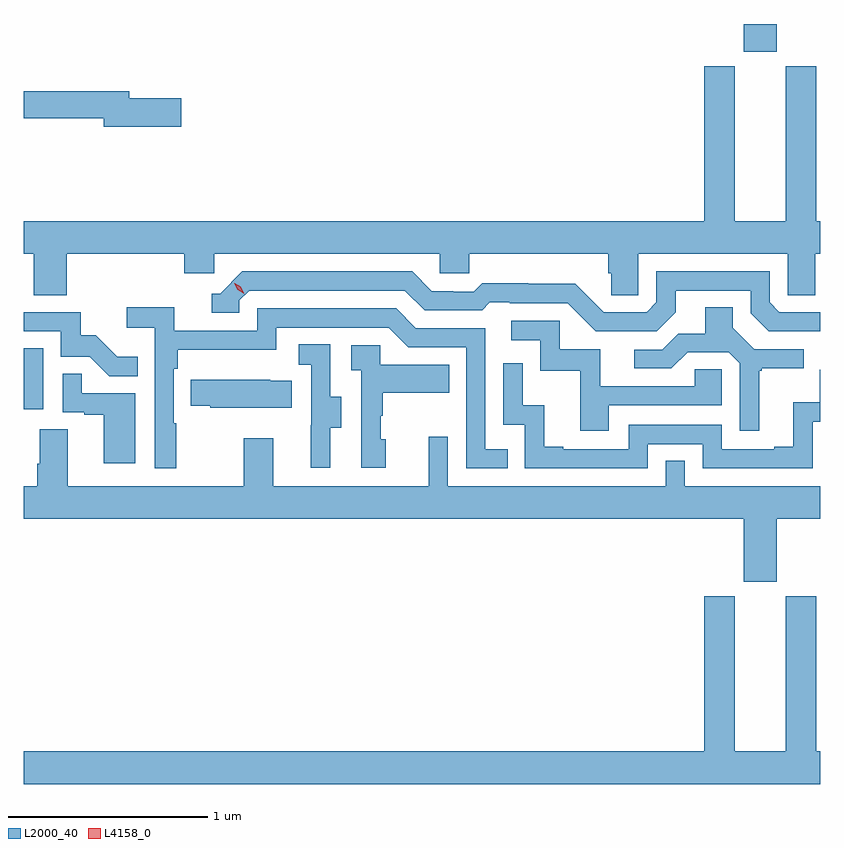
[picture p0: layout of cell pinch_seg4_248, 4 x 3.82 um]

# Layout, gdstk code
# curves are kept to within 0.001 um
import gdstk
lib = gdstk.Library(unit=1e-6, precision=1e-09)
def R(c, l, rs):  # rectangles x0, y0, x1, y1
    for r in rs: c.add(gdstk.rectangle(r[:2], r[2:], *l))
def P(c, l, *ps):  # polygons
    for p in ps: c.add(gdstk.Polygon(p, *l))
L2000_40 = (2000, 40)
L4158_0 = (4158, 0)

pinch_seg4_248 = lib.new_cell('pinch_seg4_248')
R(pinch_seg4_248, L2000_40, [(951.489,817.35,951.586,817.657), (955.106,819.147,955.27,819.286)])
P(pinch_seg4_248, L2000_40, [(951.704,818.132),(952.295,818.132),(952.295,818.034),(952.446,818.034),(952.446,818.132),(953.577,818.132),(953.577,818.034),(953.727,818.034),(953.727,818.132),(954.425,818.132),(954.425,818.034),(954.439,818.034),(954.439,817.924),(954.576,817.924),(954.576,818.132),(955.326,818.132),(955.326,817.924),(955.465,817.924),(955.465,818.132),(955.489,818.132),(955.489,818.296),(955.469,818.296),(955.469,819.075),(955.316,819.075),(955.316,818.296),(955.06,818.296),(955.06,819.075),(954.908,819.075),(954.908,818.296),(951.489,818.296),(951.489,818.132),(951.539,818.132),(951.539,817.924),(951.704,817.924)],
  [(952.279,818.912),(952.018,818.912),(952.018,818.948),(951.489,818.948),(951.489,818.812),(951.89,818.812),(951.89,818.77),(952.279,818.77)],
  [(955.489,817.839),(955.284,817.839),(955.236,817.887),(955.236,818.043),(954.666,818.043),(954.666,817.887),(954.618,817.839),(954.402,817.839),(954.26,817.981),(954.024,817.981),(954.024,817.984),(953.791,817.984),(953.749,817.941),(953.646,817.941),(953.646,817.944),(953.539,817.944),(953.44,818.043),(952.587,818.043),(952.476,817.932),(952.433,817.932),(952.433,817.836),(952.572,817.836),(952.572,817.899),(952.62,817.947),(953.403,817.947),(953.502,817.848),(953.791,817.848),(953.83,817.887),(953.929,817.887),(953.929,817.884),(954.222,817.884),(954.363,817.743),(954.669,817.743),(954.763,817.837),(954.763,817.947),(955.14,817.947),(955.14,817.833),(955.23,817.743),(955.489,817.742)],
  [(952.255,817.28),(952.242,817.28),(952.242,817.553),(952.262,817.553),(952.262,817.649),(952.758,817.649),(952.758,817.761),(953.322,817.761),(953.421,817.662),(953.712,817.662),(953.712,817.053),(953.921,817.053),(953.921,817.149),(953.808,817.149),(953.808,817.758),(953.458,817.758),(953.359,817.857),(952.662,817.857),(952.662,817.746),(952.244,817.746),(952.244,817.862),(952.005,817.862),(952.005,817.76),(952.146,817.76),(952.146,817.053),(952.255,817.053)],
  [(955.183,817.545),(955.195,817.545),(955.195,817.556),(955.408,817.556),(955.408,817.653),(955.158,817.653),(955.051,817.76),(955.051,817.862),(954.911,817.862),(954.911,817.73),(954.776,817.73),(954.696,817.65),(954.555,817.65),(954.555,817.557),(954.742,817.557),(954.823,817.638),(955.029,817.638),(955.086,817.581),(955.086,817.242),(955.183,817.242)],
  [(952.061,817.615),(951.957,817.615),(951.85,817.722),(951.774,817.722),(951.774,817.839),(951.489,817.839),(951.489,817.743),(951.675,817.743),(951.675,817.614),(951.819,817.614),(951.917,817.516),(952.061,817.516)],
  [(954.427,817.371),(954.996,817.371),(954.996,817.551),(954.859,817.551),(954.859,817.467),(954.385,817.467),(954.385,817.653),(954.18,817.653),(954.18,817.794),(953.937,817.794),(953.937,817.698),(954.084,817.698),(954.084,817.545),(954.283,817.545),(954.283,817.242),(954.427,817.242)],
  [(953.029,817.258),(953.083,817.258),(953.083,817.413),(953.028,817.413),(953.028,817.676),(952.869,817.676),(952.869,817.573),(952.932,817.573),(952.932,817.269),(952.931,817.269),(952.931,817.056),(953.029,817.056)],
  [(953.308,817.2),(953.283,817.2),(953.283,817.319),(953.293,817.319),(953.293,817.433),(953.627,817.433),(953.627,817.573),(953.28,817.573),(953.28,817.671),(953.133,817.671),(953.133,817.547),(953.184,817.547),(953.184,817.056),(953.308,817.056)],
  [(954.624,817.176),(954.9,817.176),(954.9,817.053),(955.452,817.053),(955.452,817.289),(955.489,817.289),(955.489,817.548),(955.488,817.548),(955.488,817.387),(955.355,817.387),(955.355,817.162),(955.259,817.162),(955.259,817.149),(954.996,817.149),(954.996,817.272),(954.528,817.272),(954.528,817.149),(954.199,817.149),(954.199,817.162),(954.104,817.162),(954.104,817.37),(953.994,817.37),(953.994,817.582),(953.898,817.582),(953.898,817.272),(954.006,817.272),(954.006,817.053),(954.624,817.053)],
  [(952.048,817.431),(951.779,817.431),(951.779,817.529),(951.684,817.529),(951.684,817.335),(951.791,817.335),(951.791,817.323),(951.89,817.323),(951.89,817.08),(952.048,817.08)],
  [(952.835,817.495),(952.727,817.495),(952.727,817.498),(952.327,817.498),(952.327,817.369),(952.425,817.369),(952.425,817.358),(952.835,817.358)],
  [(952.594,817.204),(952.594,816.964),(951.709,816.964),(951.709,817.25),(951.569,817.25),(951.569,817.076),(951.557,817.076),(951.557,816.964),(951.489,816.964),(951.489,816.8),(955.106,816.8),(955.106,816.483),(955.27,816.483),(955.27,816.8),(955.489,816.8),(955.489,816.964),(954.81,816.964),(954.81,817.091),(954.714,817.091),(954.714,816.964),(953.619,816.964),(953.619,817.213),(953.522,817.213),(953.522,816.964),(952.741,816.964),(952.741,817.204)],
  [(955.489,815.632),(955.469,815.632),(955.469,816.411),(955.316,816.411),(955.316,815.632),(955.06,815.632),(955.06,816.411),(954.908,816.411),(954.908,815.632),(951.489,815.632),(951.489,815.468),(955.489,815.468)])
P(pinch_seg4_248, L4158_0, [(952.595,817.932),(952.564,817.951),(952.547,817.984),(952.547,817.984),(952.548,817.984),(952.579,817.965),(952.595,817.932),(952.595,817.932)])

lib.write_gds('pinch_seg4_248.gds')
